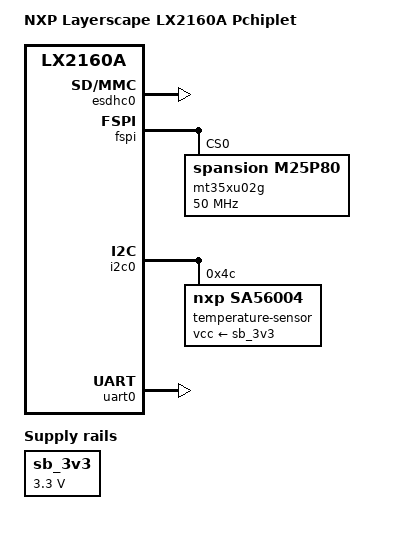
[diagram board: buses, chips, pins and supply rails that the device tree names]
// SPDX-License-Identifier: (GPL-2.0 OR MIT)
//
// Device Tree file for LX2160A-Pchiplet Board
//
// Copyright 2020 NXP

/dts-v1/;

#include "fsl-lx2160a.dtsi"

/ {
	model = "NXP Layerscape LX2160A Pchiplet";
	compatible = "fsl,lx2160a-pchiplet", "fsl,lx2160a";

	aliases {
		crypto = &crypto;
		serial0 = &uart0;
	};

	chosen {
		stdout-path = "serial0:115200n8";
	};

	sb_3v3: regulator-sb3v3 {
		compatible = "regulator-fixed";
		regulator-name = "MC34717-3.3VSB";
		regulator-min-microvolt = <3300000>;
		regulator-max-microvolt = <3300000>;
		regulator-boot-on;
		regulator-always-on;
	};
};

&esdhc0 {
	sd-uhs-sdr104;
	sd-uhs-sdr50;
	sd-uhs-sdr25;
	sd-uhs-sdr12;
	status = "okay";
};

&fspi {
	status = "okay";

	mt35xu02g: flash@0 {
		#address-cells = <1>;
		#size-cells = <1>;
		compatible = "spansion,m25p80", "jedec,spi-nor";
		m25p,fast-read;
		spi-max-frequency = <50000000>;
		reg = <0>;
		spi-rx-bus-width = <8>;
		spi-tx-bus-width = <8>;
	};
};

&i2c0 {
	status = "okay";

	temperature-sensor@4c {
		compatible = "nxp,sa56004";
		reg = <0x4c>;
		vcc-supply = <&sb_3v3>;
	};
};

&uart0 {
	status = "okay";
};
